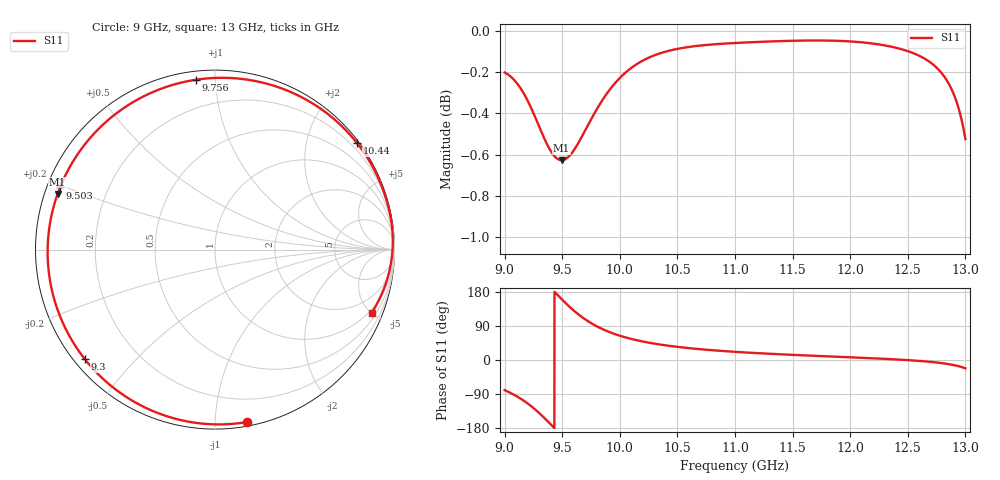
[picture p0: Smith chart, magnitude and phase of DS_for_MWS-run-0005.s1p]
! TOUCHSTONE file generated by CST DESIGN STUDIO
! Date and time: Tue Feb  4 15:43:05 2025
! Project name: C:\Work\MatlabApps\UnitCellOptimizationMatlab\CST\unitcell.cst
! Tree item: Tasks\Sweep1\SPara1\S-Parameters
! Header version: 2024
! Port assignment regex: !\s*Touchstone port\s*([0-9]+)\s*=\s*(CST MWS port|CST DES external port|CST DES block port)\s*(.+)\s* \(\"(.*)\"\)(\s*mode\s*([0-9]+))?.*
! Touchstone port assignment:
! Touchstone port 1 = CST DES external port 1 ("")
# GHz S MA R 50
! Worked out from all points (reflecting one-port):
!   4001 points, 9 GHz to 13 GHz, reference 50 ohm
!   lowest |S11| = -0.6 dB at 9.495 GHz (marker M1), VSWR 27.70, Z = 1.86 + j8.54 ohm
!   phase of S11 starts at -80 deg and turns -302 deg over the sweep
!   S11 on the Smith chart (normalised r, x): 9 GHz: 0.03, -1.20; 9.3 GHz: 0.03, -0.36; 9.503 GHz: 0.04, +0.19; 9.756 GHz: 0.04, +0.89; 10.44 GHz: 0.05, +3.01; 13 GHz: 0.81, -5.03
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9  0.9771 -79.6
9.094  0.9722 -93.8
9.168  0.9655 -107.8
9.235  0.9573 -122.9
9.3  0.948 -139.9
9.353  0.9406 -155.3
9.401  0.9351 -170.1
9.447  0.9316 175.5
9.495  0.9303 160.6
9.5  0.9303 159.1
9.503  0.9303 158.1
9.565  0.9327 140.0
9.625  0.9378 124.2
9.687  0.9445 109.9
9.756  0.9524 96.4
9.874  0.9644 78.2
10  0.9741 64.1
10.092  0.9792 56.2
10.195  0.9835 49.1
10.443  0.9893 36.8
10.5  0.9901 34.7
11  0.9934 21.5
11.5  0.9946 13.5
12  0.9943 7.1
12.5  0.9889 -0.3
12.801  0.9762 -8.5
12.902  0.9648 -13.6
13  0.9414 -21.9
